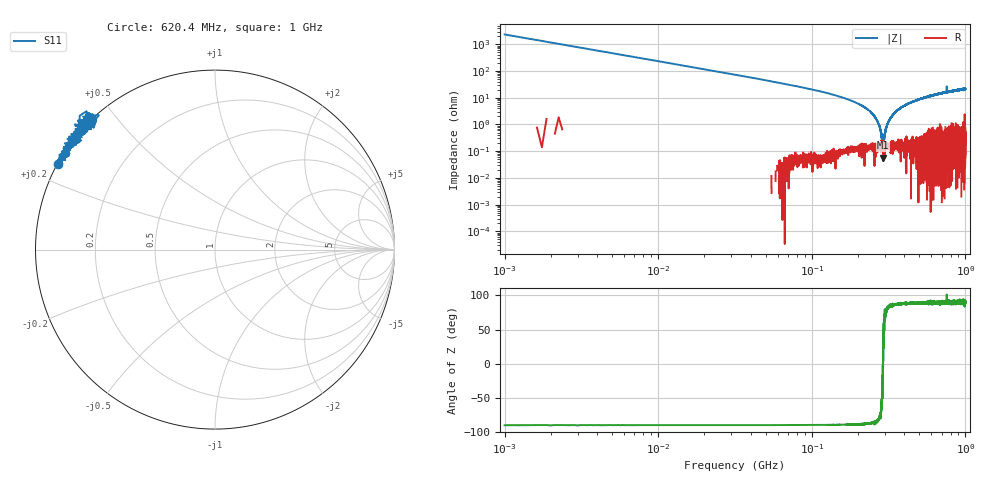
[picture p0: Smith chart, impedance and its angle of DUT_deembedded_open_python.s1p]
! ListType=Lin
!Created with skrf (http://scikit-rf.org).
# MHz S RI R 50.0
!freq ReS11 ImS11
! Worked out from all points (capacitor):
!   8001 points, 1 MHz to 1 GHz, reference 50 ohm
!   read as one part to ground: C = 68 pF near 5.995 MHz
!   lowest |Z| = 57.2 mohm at 292 MHz (marker M1)
!   series resonance near 290.2 MHz, so ESL is about 4.4 nH
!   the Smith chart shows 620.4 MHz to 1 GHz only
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1  0.9993 -0.0427
4.4965  0.9818 -0.1902
10.4905  0.9045 -0.4276
16.35963  0.7821 -0.6254
21.85412  0.64 -0.7706
26.09988  0.5205 -0.856
30.4705  0.3958 -0.9208
35.21575  0.2632 -0.967
40.08588  0.1347 -0.993
48.20275  -0.0586 -0.9995
57.4435  -0.2415 -0.9705
66.55938  -0.3869 -0.9211
76.17475  -0.509 -0.8593
86.914  -0.6141 -0.787
98.52738  -0.7004 -0.7108
125.875  -0.8331 -0.5483
147.6033  -0.8954 -0.4396
176.3245  -0.9426 -0.3191
211.1646  -0.977 -0.2024
250.75  -0.9889 -0.0917
291.9588  -0.9983 0.00152
375.625  -0.9824 0.1586
500.5  -0.9384 0.3354
625.375  -0.8726 0.4822
750.25  -0.7924 0.5876
875.125  -0.7378 0.6596
977.5225  -0.708 0.7277
1000  -0.6927 0.7192
